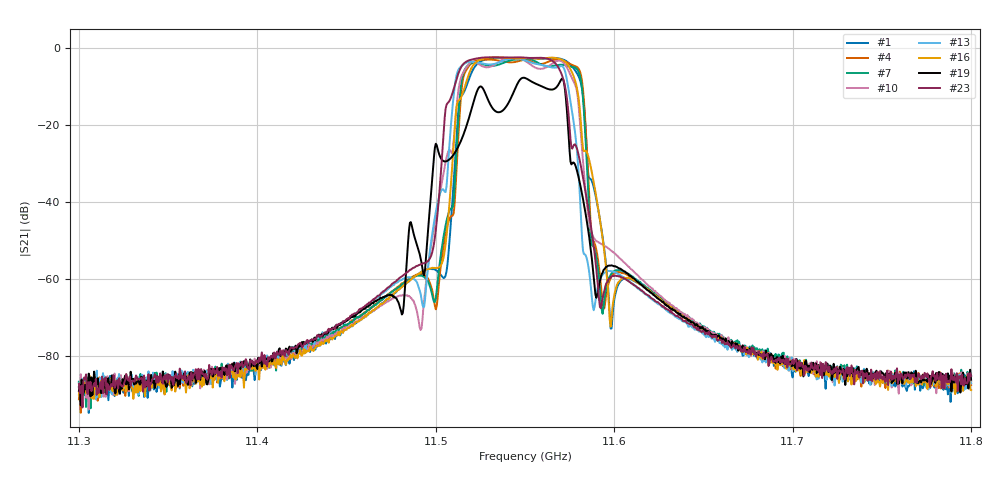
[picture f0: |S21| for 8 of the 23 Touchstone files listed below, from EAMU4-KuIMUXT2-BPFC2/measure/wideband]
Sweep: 11.3 GHz to 11.8 GHz
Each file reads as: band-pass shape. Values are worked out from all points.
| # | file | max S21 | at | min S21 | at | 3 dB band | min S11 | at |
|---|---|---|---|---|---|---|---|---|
| 1 | 1.s2p | -2.63 dB | 11.566 GHz | -94.8 dB | 11.306 GHz | 11.521 GHz-11.578 GHz | -17.9 dB | 11.583 GHz |
| 2 | 2.s2p | -2.58 dB | 11.568 GHz | -92.7 dB | 11.312 GHz | 11.521 GHz-11.582 GHz | -23.3 dB | 11.569 GHz |
| 3 | 3.s2p | -2.53 dB | 11.55 GHz | -93.4 dB | 11.309 GHz | 11.521 GHz-11.579 GHz | -30.7 dB | 11.55 GHz |
| 4 | 4.s2p | -3.08 dB | 11.529 GHz | -94.7 dB | 11.301 GHz | 11.517 GHz-11.581 GHz | -14.9 dB | 11.581 GHz |
| 5 | 5.s2p | -2.68 dB | 11.55 GHz | -93.2 dB | 11.3 GHz | 11.519 GHz-11.579 GHz | -27.9 dB | 11.55 GHz |
| 6 | 6.s2p | -2.85 dB | 11.55 GHz | -90.6 dB | 11.302 GHz | 11.518 GHz-11.58 GHz | -23.6 dB | 11.52 GHz |
| 7 | 7.s2p | -2.82 dB | 11.551 GHz | -93.6 dB | 11.306 GHz | 11.517 GHz-11.579 GHz | -25.5 dB | 11.579 GHz |
| 8 | 8.s2p | -2.57 dB | 11.549 GHz | -90.2 dB | 11.319 GHz | 11.516 GHz-11.577 GHz | -25.4 dB | 11.521 GHz |
| 9 | 9.s2p | -2.45 dB | 11.547 GHz | -94.7 dB | 11.309 GHz | 11.515 GHz-11.576 GHz | -28.7 dB | 11.544 GHz |
| 10 | 10.s2p | -2.70 dB | 11.541 GHz | -93.9 dB | 11.306 GHz | 11.517 GHz-11.574 GHz | -14.0 dB | 11.54 GHz |
| 11 | 11.s2p | -2.77 dB | 11.543 GHz | -93.4 dB | 11.306 GHz | 11.516 GHz-11.575 GHz | -19.1 dB | 11.543 GHz |
| 12 | 12.s2p | -2.76 dB | 11.542 GHz | -91.8 dB | 11.303 GHz | 11.513 GHz-11.572 GHz | -30.8 dB | 11.541 GHz |
| 13 | 13.s2p | -2.76 dB | 11.544 GHz | -91.2 dB | 11.309 GHz | 11.513 GHz-11.572 GHz | -25.3 dB | 11.512 GHz |
| 14 | 14.s2p | -2.86 dB | 11.546 GHz | -91.9 dB | 11.305 GHz | 11.514 GHz-11.572 GHz | -18.6 dB | 11.546 GHz |
| 15 | 15.s2p | -3.15 dB | 11.548 GHz | -91.1 dB | 11.325 GHz | 11.514 GHz-11.573 GHz | -24.6 dB | 11.511 GHz |
| 16 | dataset.s2p | -2.54 dB | 11.534 GHz | -92.8 dB | 11.302 GHz | 11.52 GHz-11.575 GHz | -19.5 dB | 11.531 GHz |
| 17 | ds1.s2p | -3.12 dB | 11.543 GHz | -90.8 dB | 11.316 GHz | 11.518 GHz-11.557 GHz | -14.1 dB | 11.543 GHz |
| 18 | ds2.s2p | -4.58 dB | 11.562 GHz | -92.2 dB | 11.3 GHz | 11.559 GHz-11.565 GHz | -12.7 dB | 11.562 GHz |
| 19 | ds3.s2p | -7.79 dB | 11.549 GHz | -92.8 dB | 11.301 GHz | 11.544 GHz-11.563 GHz | -7.8 dB | 11.572 GHz |
| 20 | ds4.s2p | -4.53 dB | 11.559 GHz | -91.8 dB | 11.307 GHz | 11.557 GHz-11.567 GHz | -9.3 dB | 11.559 GHz |
| 21 | ds.s2p | -3.34 dB | 11.553 GHz | -93.8 dB | 11.316 GHz | 11.533 GHz-11.562 GHz | -11.0 dB | 11.553 GHz |
| 22 | test.s2p | -2.07 dB | 11.556 GHz | -93.4 dB | 11.315 GHz | 11.511 GHz-11.572 GHz | -40.6 dB | 11.556 GHz |
| 23 | vac.s2p | -2.47 dB | 11.532 GHz | -93.3 dB | 11.302 GHz | 11.514 GHz-11.569 GHz | -23.3 dB | 11.53 GHz |
